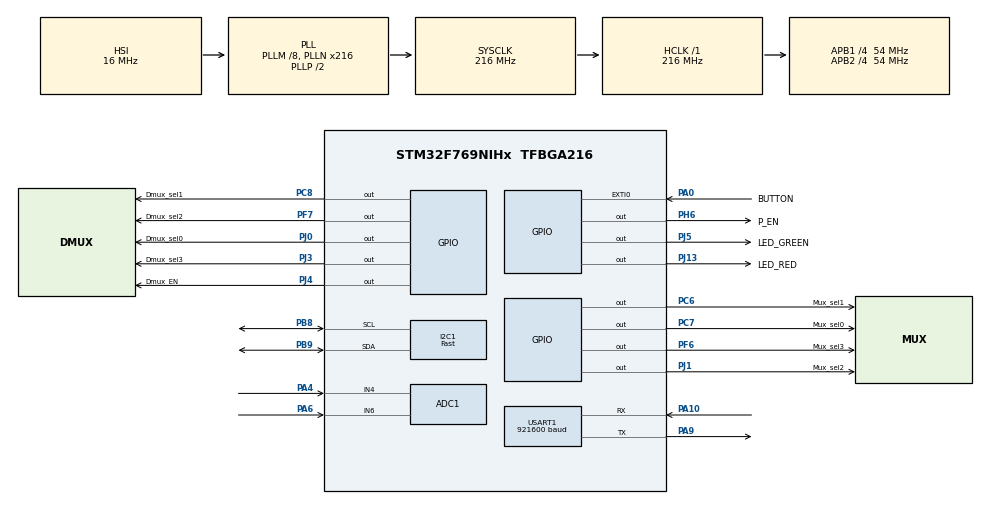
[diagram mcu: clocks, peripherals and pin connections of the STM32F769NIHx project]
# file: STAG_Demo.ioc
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Mcu.Family=STM32F7
STMicroelectronics.X-CUBE-AI.5.0.0.ModelMacc-4a777269b15ae735e5917de376a15997c86f35e3944f2cdbd16dda3ebaa704af=4761904
RCC.CortexFreq_Value=216000000
STMicroelectronics.X-CUBE-AI.5.0.0.ModelName-4a777269b15ae735e5917de376a15997c86f35e3944f2cdbd16dda3ebaa704af=network
NVIC.I2C1_EV_IRQn=true\:4\:1\:true\:false\:true\:true\:true
I2C1.I2C_Speed_Mode=I2C_Fast
STMicroelectronics.X-CUBE-AI.5.0.0.ModelFlashOccupation-4a777269b15ae735e5917de376a15997c86f35e3944f2cdbd16dda3ebaa704af=175940
USART1.BaudRate=921600
STMicroelectronics.X-CUBE-AI.5.0.0.NNModelInformation_ModelSize-4a777269b15ae735e5917de376a15997c86f35e3944f2cdbd16dda3ebaa704af=175940
PH6.GPIO_Label=P_EN
CORTEX_M7.PREFETCH_ENABLE=1
PC6.GPIO_Label=Mux_sel1
PA0/WKUP.Signal=GPXTI0
STMicroelectronics.X-CUBE-AI.5.0.0.ModelType-4a777269b15ae735e5917de376a15997c86f35e3944f2cdbd16dda3ebaa704af=Saved model
PJ5.GPIO_Label=LED_GREEN
PF6.GPIO_Label=Mux_sel3
STMicroelectronics.X-CUBE-AI.5.0.0.ModelActualCompression-4a777269b15ae735e5917de376a15997c86f35e3944f2cdbd16dda3ebaa704af=0.0
RCC.SYSCLKSource=RCC_SYSCLKSOURCE_PLLCLK
ProjectManager.StackSize=0x4000
VP_TIM7_VS_ClockSourceINT.Mode=Enable_Timer
STMicroelectronics.X-CUBE-AI.5.0.0.StackSize=0x4000
NVIC.ADC_IRQn=true\:2\:1\:true\:false\:true\:true\:true
Dma.USART1_TX.0.Priority=DMA_PRIORITY_LOW
PJ13.GPIO_Label=LED_RED
Dma.USART1_TX.0.Direction=DMA_MEMORY_TO_PERIPH
PF7.Signal=GPIO_Output
PH0/OSC_IN.Mode=HSE-External-Oscillator
RCC.HCLKFreq_Value=216000000
RCC.APB2TimFreq_Value=108000000
PC7.Signal=GPIO_Output
PH1/OSC_OUT.Signal=RCC_OSC_OUT
TIM7.Period=1349
STMicroelectronics.X-CUBE-AI.5.0.0.InternalRamActivationBufferMaxSize=AI_NETWORK_DATA_ACTIVATIONS_SIZE
RCC.AHBFreq_Value=216000000
STMicroelectronics.X-CUBE-AI.5.0.0.NNModelInformation_ModelMacc-4a777269b15ae735e5917de376a15997c86f35e3944f2cdbd16dda3ebaa704af=4761904
STMicroelectronics.X-CUBE-AI.5.0.0.WorkingBufferStartAddrList=0xFFFFFFFF
ADC1.Channel-0\#ChannelRegularConversion=ADC_CHANNEL_4
RCC.HSE_VALUE=25000000
ADC1.ScanConvMode=ADC_SCAN_ENABLE
STMicroelectronics.X-CUBE-AI.5.0.0.NNModelInformation_NbOfParameters-4a777269b15ae735e5917de376a15997c86f35e3944f2cdbd16dda3ebaa704af=43985
STMicroelectronics.X-CUBE-AI.5.0.0.NNModelInformation_ModelRam-4a777269b15ae735e5917de376a15997c86f35e3944f2cdbd16dda3ebaa704af=49152
STMicroelectronics.X-CUBE-AI.5.0.0.NNModelInformation_ModelRom-4a777269b15ae735e5917de376a15997c86f35e3944f2cdbd16dda3ebaa704af=175940
PF7.GPIO_Label=Dmux_sel2
STMicroelectronics.X-CUBE-AI.5.0.0.LatestDirectoryUsed-4a777269b15ae735e5917de376a15997c86f35e3944f2cdbd16dda3ebaa704af=/home/fabian/Documents/Master_thesis/Python_Code/models/onnx
STMicroelectronics.X-CUBE-AI.5.0.0.NNModelInformation_HeapSizeNeeded-4a777269b15ae735e5917de376a15997c86f35e3944f2cdbd16dda3ebaa704af=3072
TIM6.Period=65535
Dma.USART1_TX.0.PeriphDataAlignment=DMA_PDATAALIGN_BYTE
NVIC.I2C1_ER_IRQn=true\:4\:0\:true\:false\:true\:true\:true
PH1/OSC_OUT.Mode=HSE-External-Oscillator
ADC1.SamplingTime-0\#ChannelRegularConversion=ADC_SAMPLETIME_112CYCLES
STMicroelectronics.X-CUBE-AI.5.0.0.ValidationOutputFileHistory-4a777269b15ae735e5917de376a15997c86f35e3944f2cdbd16dda3ebaa704af=/home/fabian/Documents/Master_thesis/C_Code/validation_data/label2_small.csv,/home/fabian/Documents/Master_thesis/C_Code/validation_data/real_labels.csv
STMicroelectronics.X-CUBE-AI.5.0.0.NNModelInformation_ModelOutSizeByName-4a777269b15ae735e5917de376a15997c86f35e3944f2cdbd16dda3ebaa704af={output\=68}
STMicroelectronics.X-CUBE-AI.5.0.0.MaximumNumberOfInputLayer=1
PB9.Signal=I2C1_SDA
Mcu.Package=TFBGA216
PA6.Signal=ADCx_IN6
NVIC.DMA2_Stream7_IRQn=true\:0\:0\:false\:false\:true\:false\:true
STMicroelectronics.X-CUBE-AI.5.0.0.MaximumSizeOfInputLayer=4096
PJ4.Signal=GPIO_Output
PA10.Signal=USART1_RX
STMicroelectronics.X-CUBE-AI.5.0.0.ValidationInputFileHistory-4a777269b15ae735e5917de376a15997c86f35e3944f2cdbd16dda3ebaa704af=/home/fabian/Documents/Master_thesis/C_Code/validation_data/data2_small.csv,/home/fabian/Documents/Master_thesis/C_Code/validation_data/real_data.csv,/home/fabian/Documents/Master_thesis/C_Code/validation_data/real_data.csv
Dma.USART1_TX.0.Instance=DMA2_Stream7
PJ1.Signal=GPIO_Output
TIM7.AutoReloadPreload=TIM_AUTORELOAD_PRELOAD_ENABLE
Dma.USART1_TX.0.FIFOMode=DMA_FIFOMODE_DISABLE
RCC.APB2CLKDivider=RCC_HCLK_DIV4
RCC.PLLSAIQ=3
PJ3.GPIO_Label=Dmux_sel3
RCC.APB1TimFreq_Value=108000000
STMicroelectronics.X-CUBE-AI.5.0.0.MaximumSizeOfOutputLayer=68
NVIC.USART1_IRQn=true\:2\:0\:true\:false\:true\:true\:true
Dma.Request0=USART1_TX
NVIC.TIM7_IRQn=true\:1\:1\:true\:false\:true\:true\:true
PJ1.GPIO_Label=Mux_sel2
CORTEX_M7.CPU_ICache=Enabled
ADC1.Rank-0\#ChannelRegularConversion=1
Dma.USART1_TX.0.MemInc=DMA_MINC_ENABLE
STMicroelectronics.X-CUBE-AI.5.0.0.HeapSize=0x2000
Dma.USART1_TX.0.PeriphInc=DMA_PINC_DISABLE
PA10.Mode=Asynchronous
SH.ADCx_IN6.0=ADC1_IN6,IN6
STMicroelectronics.X-CUBE-AI.5.0.0.MaximumNumberOfOutputLayer=1
STMicroelectronics.X-CUBE-AI.5.0.0.ModelRamOccupation-4a777269b15ae735e5917de376a15997c86f35e3944f2cdbd16dda3ebaa704af=49152
STMicroelectronics.X-CUBE-AI.5.0.0.XAaCUBEAaAICcArtificialOoIntelligenceJjCore=true
PC8.Signal=GPIO_Output
STMicroelectronics.X-CUBE-AI.5.0.0.ModelKind-4a777269b15ae735e5917de376a15997c86f35e3944f2cdbd16dda3ebaa704af=ONNX
TIM6.Prescaler=107
ADC1.DiscontinuousConvMode=ENABLE
VP_TIM6_VS_ClockSourceINT.Mode=Enable_Timer
PC6.Signal=GPIO_Output
RCC.APB1CLKDivider=RCC_HCLK_DIV4
STMicroelectronics.X-CUBE-AI.5.0.0.NNModelInformation_EvaluationStatus-4a777269b15ae735e5917de376a15997c86f35e3944f2cdbd16dda3ebaa704af=NOT EVALUATED
VP_STMicroelectronics.X-CUBE-AI_VS_ArtificialOoIntelligenceJjXAaCUBEAaAI_5.0.0.Mode=ArtificialOoIntelligenceJjXAaCUBEAaAI
PC8.GPIO_Label=Dmux_sel1
USART1.VirtualMode-Asynchronous=VM_ASYNC
TIM6.AutoReloadPreload=TIM_AUTORELOAD_PRELOAD_ENABLE
PJ3.Signal=GPIO_Output
PA9.Mode=Asynchronous
PF6.Signal=GPIO_Output
ProjectManager.TargetToolchain=Makefile
CORTEX_M7.ART_ACCLERATOR_ENABLE=1
PB9.Mode=I2C
PA9.Signal=USART1_TX
STMicroelectronics.X-CUBE-AI.5.0.0.NNModelInformation_AchievedCompression-4a777269b15ae735e5917de376a15997c86f35e3944f2cdbd16dda3ebaa704af=0.0
ADC1.Channel-1\#ChannelRegularConversion=ADC_CHANNEL_6
I2C1.Timing=0x6000030D
STMicroelectronics.X-CUBE-AI.5.0.0.ApplicationCcArtificialOoIntelligenceJjApplication=ApplicationTemplate
RCC.USBFreq_Value=108000000
RCC.LSE_VALUE=32768
Dma.USART1_TX.0.Mode=DMA_NORMAL
TIM7.Prescaler=9999
board=STM32F769I-DISC1
PJ4.GPIO_Label=Dmux_EN
RCC.VCOOutputFreq_Value=432000000
ADC1.NbrOfDiscConversion=2
PH0/OSC_IN.Signal=RCC_OSC_IN
RCC.APB2Freq_Value=54000000
STMicroelectronics.X-CUBE-AI.5.0.0.NNModelInformation_CompressionFactor-4a777269b15ae735e5917de376a15997c86f35e3944f2cdbd16dda3ebaa704af=0.0
PA0/WKUP.GPIO_Label=BUTTON
STMicroelectronics.X-CUBE-AI.5.0.0.ModelCompression-4a777269b15ae735e5917de376a15997c86f35e3944f2cdbd16dda3ebaa704af=1
SH.ADCx_IN4.0=ADC1_IN4,IN4
STMicroelectronics.X-CUBE-AI.5.0.0.ActivationBufferSizeList=49152
ADC1.NbrOfConversion=2
PJ0.Signal=GPIO_Output
Mcu.Name=STM32F769NIHx
PC7.GPIO_Label=Mux_sel0
STMicroelectronics.X-CUBE-AI.5.0.0.NNModelInformation_ModelInSizeByName-4a777269b15ae735e5917de376a15997c86f35e3944f2cdbd16dda3ebaa704af={input\=4096}
NVIC.EXTI0_IRQn=true\:1\:0\:true\:false\:true\:true\:true
PA4.Signal=ADCx_IN4
ADC1.SamplingTime-1\#ChannelRegularConversion=ADC_SAMPLETIME_112CYCLES
RCC.SYSCLKFreq_VALUE=216000000
USART1.OverSampling=UART_OVERSAMPLING_8
ADC1.master=1
PJ5.Signal=GPIO_Output
ADC1.Rank-1\#ChannelRegularConversion=2
Dma.USART1_TX.0.MemDataAlignment=DMA_MDATAALIGN_BYTE
PJ0.GPIO_Label=Dmux_sel0
ProjectManager.HeapSize=0x2000
PH6.Signal=GPIO_Output
RCC.HSI_VALUE=16000000
VP_STMicroelectronics.X-CUBE-AI_VS_ArtificialOoIntelligenceJjApplication_5.0.0.Mode=ArtificialOoIntelligenceJjApplication
RCC.PLLQ=4
NVIC.PriorityGroup=NVIC_PRIORITYGROUP_3
ADC1.NbrOfConversionFlag=1
RCC.PLLM=8
STMicroelectronics.X-CUBE-AI.5.0.0.ModelHashList=4a777269b15ae735e5917de376a15997c86f35e3944f2cdbd16dda3ebaa704af
PB8.Mode=I2C
RCC.PLLN=216
PB8.Signal=I2C1_SCL
STMicroelectronics.X-CUBE-AI.5.0.0.NNModelInformation_ModelName-4a777269b15ae735e5917de376a15997c86f35e3944f2cdbd16dda3ebaa704af=network
CORTEX_M7.CPU_DCache=Enabled
RCC.APB1Freq_Value=54000000
VP_CRC_VS_CRC.Mode=CRC_Activate
PJ13.Signal=GPIO_Output
STMicroelectronics.X-CUBE-AI.5.0.0.ModelNameList=network

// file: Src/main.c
/* USER CODE BEGIN Header */
/**
  ******************************************************************************
  * @file           : main.c
  * @brief          : Main program body
  ******************************************************************************
  * @attention
  *
  * <h2><center>&copy; Copyright (c) 2020 STMicroelectronics.
  * All rights reserved.</center></h2>
  *
  * This software component is licensed by ST under Ultimate Liberty license
  * SLA0044, the "License"; You may not use this file except in compliance with
  * the License. You may obtain a copy of the License at:
  *                             www.st.com/SLA0044
  *
  ******************************************************************************
  */
/* USER CODE END Header */

#include "main.h"
#include "app_x-cube-ai.h"

/* USER CODE BEGIN Includes */
#include "readout_driver.h"

// needed to retarget stdio
#include <stdio.h>
#include <errno.h>
#include <sys/unistd.h>

#include <stdbool.h>
/* USER CODE END Includes */

CRC_HandleTypeDef hcrc;

I2C_HandleTypeDef hi2c1;

TIM_HandleTypeDef htim7;

UART_HandleTypeDef huart1;
DMA_HandleTypeDef hdma_usart1_tx;

/* USER CODE BEGIN PV */
static uint16_t tactileData[DATA_SIZE];
volatile bool collect_data = false;
volatile bool button = false;
HAL_StatusTypeDef status;

ai_float tactileData_scaled[DATA_SIZE];
const uint16_t tactile_shift = 1500;
const float tactile_scale = 1/(2700.0 - 1500.0);
uint8_t pred_class;
uint8_t terminator[2] = {0xFF, 0xFF};
uint8_t rx_char;
//volatile bool tx_complete = false;

char class_names[17][15] =  {
                              //"Allen key set ",
                              "Ball          ",
                              "Battery       ",
                              //"Board eraser  ",
                              "Bracket       ",
                              //"Brain         ",
                              //"Cat           ",
                              //"Chain         ",
                              //"Clip          ",
                              "Coin          ",
                              "Empty can     ",
                              "Empty hand    ",
                              "Full can      ",
                              "Gel           ",
                              //"Kiwano        ",
                              "Lotion        ",
                              "Mug           ",
                              //"Multimeter    ",
                              "Pen           ",
                              "Safety glasses",
                              "Scissors      ",
                              "Screwdriver   ",
                              //"Spoon         ",
                              "Spray can     ",
                              "Stapler       ",
                              "Tape          ",
                              //"Teabox        "
                            };

//uint16_t pre_tick;
//uint16_t post_tick;
/* USER CODE END PV */

void SystemClock_Config(void);
static void MX_GPIO_Init(void);
static void MX_DMA_Init(void);
static void MX_ADC1_Init(void);
static void MX_USART1_UART_Init(void);
static void MX_I2C1_Init(void);
static void MX_TIM6_Init(void);
static void MX_TIM7_Init(void);
static void MX_CRC_Init(void);
/* USER CODE BEGIN PFP */
void HAL_GPIO_EXTI_Callback(uint16_t GPIO_Pin);
void HAL_TIM_PeriodElapsedCallback(TIM_HandleTypeDef *htim);
int _write(int fd, char *buff, int count);
//void HAL_UART_TxCpltCallback(UART_HandleTypeDef *huart);
void HAL_UART_RxCpltCallback(UART_HandleTypeDef *huart);
static void normalize(uint16_t *pSrcBuffer, ai_float *pDstBuffer, uint32_t BufferSize);
//static void Send_Frame(uint16_t *pBuffer, uint32_t size);
/* USER CODE END PFP */

int main(void)
{

  /* Enable I-Cache---------------------------------------------------------*/
  SCB_EnableICache();

  /* Enable D-Cache---------------------------------------------------------*/
  SCB_EnableDCache();

  /* MCU Configuration--------------------------------------------------------*/

  /* Reset of all peripherals, Initializes the Flash interface and the Systick. */
  HAL_Init();

  /* Configure the system clock */
  SystemClock_Config();

  /* Initialize all configured peripherals */
  MX_GPIO_Init();
  MX_DMA_Init();
  MX_ADC1_Init();
  MX_USART1_UART_Init();
  MX_I2C1_Init();
  MX_TIM6_Init();
  MX_TIM7_Init();
  MX_CRC_Init();
  MX_X_CUBE_AI_Init();
  /* USER CODE BEGIN 2 */
  // Enable the reference voltage for the readout circuit
  //En_ReadoutCircuit();
  HAL_TIM_Base_Start(&htim6);
  HAL_UART_Receive_IT(&huart1, &rx_char, 1);
  /* USER CODE END 2 */

  /* Infinite loop */
  /* USER CODE BEGIN WHILE */
  while (1)
  {
    if(collect_data)
    {
      //pre_tick = __HAL_TIM_GET_COUNTER(&htim7);
      __HAL_TIM_SET_COUNTER(&htim6, 0);
      status = Read_Frame(tactileData);
      //post_tick = __HAL_TIM_GET_COUNTER(&htim7);
      //printf("Acquisition took %f microseconds.\n", (float)(post_tick-pre_tick)*92.6);
      if (status != HAL_OK)
      {
        Error_Handler();
      }
      normalize(tactileData, tactileData_scaled, DATA_SIZE);
      //tx_complete = false;
      // Delegate sending of frame to the DMA while the CPU runs inference
      status = HAL_UART_Transmit_DMA(&huart1, (uint8_t *)tactileData, DATA_SIZE*2);
      /*pre_tick = __HAL_TIM_GET_COUNTER(&htim7);
      status = HAL_UART_Transmit(&huart1, (uint8_t *)tactileData, DATA_SIZE*2, HAL_MAX_DELAY);
      post_tick = __HAL_TIM_GET_COUNTER(&htim7);
      printf("Sending took %f microseconds.\n", (float)(post_tick-pre_tick)*92.6);*/
      if (status != HAL_OK)
      {
        Error_Handler();
      }
      pred_class = MX_X_CUBE_AI_Process(tactileData_scaled);
      /*while(!tx_complete)
      {
        // Wait for transfer to be completed
        HAL_Delay(1);
      }*/
      HAL_UART_Transmit(&huart1, &pred_class, 1, HAL_MAX_DELAY);
      HAL_UART_Transmit(&huart1, terminator, 2, HAL_MAX_DELAY);
      //post_tick = __HAL_TIM_GET_COUNTER(&htim7);
      //printf("Acquisition and inference took %f microseconds.\n", (float)(post_tick-pre_tick)*92.6);

      collect_data = false;
    }
    /* USER CODE END WHILE */

  }
}

void SystemClock_Config(void)
{
  RCC_OscInitTypeDef RCC_OscInitStruct = {0};
  RCC_ClkInitTypeDef RCC_ClkInitStruct = {0};
  RCC_PeriphCLKInitTypeDef PeriphClkInitStruct = {0};

  /** Configure the main internal regulator output voltage
  */
  __HAL_RCC_PWR_CLK_ENABLE();
  __HAL_PWR_VOLTAGESCALING_CONFIG(PWR_REGULATOR_VOLTAGE_SCALE1);
  /** Initializes the CPU, AHB and APB busses clocks
  */
  RCC_OscInitStruct.OscillatorType = RCC_OSCILLATORTYPE_HSI;
  RCC_OscInitStruct.HSIState = RCC_HSI_ON;
  RCC_OscInitStruct.HSICalibrationValue = RCC_HSICALIBRATION_DEFAULT;
  RCC_OscInitStruct.PLL.PLLState = RCC_PLL_ON;
  RCC_OscInitStruct.PLL.PLLSource = RCC_PLLSOURCE_HSI;
  RCC_OscInitStruct.PLL.PLLM = 8;
  RCC_OscInitStruct.PLL.PLLN = 216;
  RCC_OscInitStruct.PLL.PLLP = RCC_PLLP_DIV2;
  RCC_OscInitStruct.PLL.PLLQ = 4;
  if (HAL_RCC_OscConfig(&RCC_OscInitStruct) != HAL_OK)
  {
    Error_Handler();
  }
  /** Activate the Over-Drive mode
  */
  if (HAL_PWREx_EnableOverDrive() != HAL_OK)
  {
    Error_Handler();
  }
  /** Initializes the CPU, AHB and APB busses clocks
  */
  RCC_ClkInitStruct.ClockType = RCC_CLOCKTYPE_HCLK|RCC_CLOCKTYPE_SYSCLK
                              |RCC_CLOCKTYPE_PCLK1|RCC_CLOCKTYPE_PCLK2;
  RCC_ClkInitStruct.SYSCLKSource = RCC_SYSCLKSOURCE_PLLCLK;
  RCC_ClkInitStruct.AHBCLKDivider = RCC_SYSCLK_DIV1;
  RCC_ClkInitStruct.APB1CLKDivider = RCC_HCLK_DIV4;
  RCC_ClkInitStruct.APB2CLKDivider = RCC_HCLK_DIV4;

  if (HAL_RCC_ClockConfig(&RCC_ClkInitStruct, FLASH_LATENCY_7) != HAL_OK)
  {
    Error_Handler();
  }
  PeriphClkInitStruct.PeriphClockSelection = RCC_PERIPHCLK_USART1|RCC_PERIPHCLK_I2C1;
  PeriphClkInitStruct.Usart1ClockSelection = RCC_USART1CLKSOURCE_PCLK2;
  PeriphClkInitStruct.I2c1ClockSelection = RCC_I2C1CLKSOURCE_PCLK1;
  if (HAL_RCCEx_PeriphCLKConfig(&PeriphClkInitStruct) != HAL_OK)
  {
    Error_Handler();
  }
}

static void MX_ADC1_Init(void)
{

  ADC_ChannelConfTypeDef sConfig = {0};

  /** Configure the global features of the ADC (Clock, Resolution, Data Alignment and number of conversion)
  */
  hadc1.Instance = ADC1;
  hadc1.Init.ClockPrescaler = ADC_CLOCK_SYNC_PCLK_DIV2;
  hadc1.Init.Resolution = ADC_RESOLUTION_12B;
  hadc1.Init.ScanConvMode = ADC_SCAN_ENABLE;
  hadc1.Init.ContinuousConvMode = DISABLE;
  hadc1.Init.DiscontinuousConvMode = ENABLE;
  hadc1.Init.NbrOfDiscConversion = 2;
  hadc1.Init.ExternalTrigConvEdge = ADC_EXTERNALTRIGCONVEDGE_NONE;
  hadc1.Init.ExternalTrigConv = ADC_SOFTWARE_START;
  hadc1.Init.DataAlign = ADC_DATAALIGN_RIGHT;
  hadc1.Init.NbrOfConversion = 2;
  hadc1.Init.DMAContinuousRequests = DISABLE;
  hadc1.Init.EOCSelection = ADC_EOC_SINGLE_CONV;
  if (HAL_ADC_Init(&hadc1) != HAL_OK)
  {
    Error_Handler();
  }
  /** Configure for the selected ADC regular channel its corresponding rank in the sequencer and its sample time.
  */
  sConfig.Channel = ADC_CHANNEL_4;
  sConfig.Rank = ADC_REGULAR_RANK_1;
  sConfig.SamplingTime = ADC_SAMPLETIME_112CYCLES;
  if (HAL_ADC_ConfigChannel(&hadc1, &sConfig) != HAL_OK)
  {
    Error_Handler();
  }
  /** Configure for the selected ADC regular channel its corresponding rank in the sequencer and its sample time.
  */
  sConfig.Channel = ADC_CHANNEL_6;
  sConfig.Rank = ADC_REGULAR_RANK_2;
  if (HAL_ADC_ConfigChannel(&hadc1, &sConfig) != HAL_OK)
  {
    Error_Handler();
  }

}

static void MX_CRC_Init(void)
{

  hcrc.Instance = CRC;
  hcrc.Init.DefaultPolynomialUse = DEFAULT_POLYNOMIAL_ENABLE;
  hcrc.Init.DefaultInitValueUse = DEFAULT_INIT_VALUE_ENABLE;
  hcrc.Init.InputDataInversionMode = CRC_INPUTDATA_INVERSION_NONE;
  hcrc.Init.OutputDataInversionMode = CRC_OUTPUTDATA_INVERSION_DISABLE;
  hcrc.InputDataFormat = CRC_INPUTDATA_FORMAT_BYTES;
  if (HAL_CRC_Init(&hcrc) != HAL_OK)
  {
    Error_Handler();
  }

}

static void MX_I2C1_Init(void)
{

  hi2c1.Instance = I2C1;
  hi2c1.Init.Timing = 0x6000030D;
  hi2c1.Init.OwnAddress1 = 0;
  hi2c1.Init.AddressingMode = I2C_ADDRESSINGMODE_7BIT;
  hi2c1.Init.DualAddressMode = I2C_DUALADDRESS_DISABLE;
  hi2c1.Init.OwnAddress2 = 0;
  hi2c1.Init.OwnAddress2Masks = I2C_OA2_NOMASK;
  hi2c1.Init.GeneralCallMode = I2C_GENERALCALL_DISABLE;
  hi2c1.Init.NoStretchMode = I2C_NOSTRETCH_DISABLE;
  if (HAL_I2C_Init(&hi2c1) != HAL_OK)
  {
    Error_Handler();
  }
  /** Configure Analogue filter
  */
  if (HAL_I2CEx_ConfigAnalogFilter(&hi2c1, I2C_ANALOGFILTER_ENABLE) != HAL_OK)
  {
    Error_Handler();
  }
  /** Configure Digital filter
  */
  if (HAL_I2CEx_ConfigDigitalFilter(&hi2c1, 0) != HAL_OK)
  {
    Error_Handler();
  }

}

static void MX_TIM6_Init(void)
{

  TIM_MasterConfigTypeDef sMasterConfig = {0};

  htim6.Instance = TIM6;
  htim6.Init.Prescaler = 107;
  htim6.Init.CounterMode = TIM_COUNTERMODE_UP;
  htim6.Init.Period = 65535;
  htim6.Init.AutoReloadPreload = TIM_AUTORELOAD_PRELOAD_ENABLE;
  if (HAL_TIM_Base_Init(&htim6) != HAL_OK)
  {
    Error_Handler();
  }
  sMasterConfig.MasterOutputTrigger = TIM_TRGO_RESET;
  sMasterConfig.MasterSlaveMode = TIM_MASTERSLAVEMODE_DISABLE;
  if (HAL_TIMEx_MasterConfigSynchronization(&htim6, &sMasterConfig) != HAL_OK)
  {
    Error_Handler();
  }

}

static void MX_TIM7_Init(void)
{

  TIM_MasterConfigTypeDef sMasterConfig = {0};

  htim7.Instance = TIM7;
  htim7.Init.Prescaler = 9999;
  htim7.Init.CounterMode = TIM_COUNTERMODE_UP;
  htim7.Init.Period = 1349;
  htim7.Init.AutoReloadPreload = TIM_AUTORELOAD_PRELOAD_ENABLE;
  if (HAL_TIM_Base_Init(&htim7) != HAL_OK)
  {
    Error_Handler();
  }
  sMasterConfig.MasterOutputTrigger = TIM_TRGO_RESET;
  sMasterConfig.MasterSlaveMode = TIM_MASTERSLAVEMODE_DISABLE;
  if (HAL_TIMEx_MasterConfigSynchronization(&htim7, &sMasterConfig) != HAL_OK)
  {
    Error_Handler();
  }

}

static void MX_USART1_UART_Init(void)
{

  huart1.Instance = USART1;
  huart1.Init.BaudRate = 921600;
  huart1.Init.WordLength = UART_WORDLENGTH_8B;
  huart1.Init.StopBits = UART_STOPBITS_1;
  huart1.Init.Parity = UART_PARITY_NONE;
  huart1.Init.Mode = UART_MODE_TX_RX;
  huart1.Init.HwFlowCtl = UART_HWCONTROL_NONE;
  huart1.Init.OverSampling = UART_OVERSAMPLING_8;
  huart1.Init.OneBitSampling = UART_ONE_BIT_SAMPLE_DISABLE;
  huart1.AdvancedInit.AdvFeatureInit = UART_ADVFEATURE_NO_INIT;
  if (HAL_UART_Init(&huart1) != HAL_OK)
  {
    Error_Handler();
  }

}

static void MX_DMA_Init(void)
{

  /* DMA controller clock enable */
  __HAL_RCC_DMA2_CLK_ENABLE();

  /* DMA interrupt init */
  /* DMA2_Stream7_IRQn interrupt configuration */
  HAL_NVIC_SetPriority(DMA2_Stream7_IRQn, 0, 0);
  HAL_NVIC_EnableIRQ(DMA2_Stream7_IRQn);

}

static void MX_GPIO_Init(void)
{
  GPIO_InitTypeDef GPIO_InitStruct = {0};

  /* GPIO Ports Clock Enable */
  __HAL_RCC_GPIOB_CLK_ENABLE();
  __HAL_RCC_GPIOJ_CLK_ENABLE();
  __HAL_RCC_GPIOA_CLK_ENABLE();
  __HAL_RCC_GPIOH_CLK_ENABLE();
  __HAL_RCC_GPIOC_CLK_ENABLE();
  __HAL_RCC_GPIOF_CLK_ENABLE();

  /*Configure GPIO pin Output Level */
  HAL_GPIO_WritePin(GPIOJ, LED_RED_Pin|Dmux_EN_Pin|LED_GREEN_Pin|Dmux_sel3_Pin
                          |Dmux_sel0_Pin|Mux_sel2_Pin, GPIO_PIN_RESET);

  /*Configure GPIO pin Output Level */
  HAL_GPIO_WritePin(GPIOC, Dmux_sel1_Pin|Mux_sel0_Pin|Mux_sel1_Pin, GPIO_PIN_RESET);

  /*Configure GPIO pin Output Level */
  HAL_GPIO_WritePin(GPIOF, Dmux_sel2_Pin|Mux_sel3_Pin, GPIO_PIN_RESET);

  /*Configure GPIO pin Output Level */
  HAL_GPIO_WritePin(P_EN_GPIO_Port, P_EN_Pin, GPIO_PIN_RESET);

  /*Configure GPIO pins : LED_RED_Pin Dmux_EN_Pin LED_GREEN_Pin Dmux_sel3_Pin
                           Dmux_sel0_Pin Mux_sel2_Pin */
  GPIO_InitStruct.Pin = LED_RED_Pin|Dmux_EN_Pin|LED_GREEN_Pin|Dmux_sel3_Pin
                          |Dmux_sel0_Pin|Mux_sel2_Pin;
  GPIO_InitStruct.Mode = GPIO_MODE_OUTPUT_PP;
  GPIO_InitStruct.Pull = GPIO_NOPULL;
  GPIO_InitStruct.Speed = GPIO_SPEED_FREQ_LOW;
  HAL_GPIO_Init(GPIOJ, &GPIO_InitStruct);

  /*Configure GPIO pins : Dmux_sel1_Pin Mux_sel0_Pin Mux_sel1_Pin */
  GPIO_InitStruct.Pin = Dmux_sel1_Pin|Mux_sel0_Pin|Mux_sel1_Pin;
  GPIO_InitStruct.Mode = GPIO_MODE_OUTPUT_PP;
  GPIO_InitStruct.Pull = GPIO_NOPULL;
  GPIO_InitStruct.Speed = GPIO_SPEED_FREQ_LOW;
  HAL_GPIO_Init(GPIOC, &GPIO_InitStruct);

  /*Configure GPIO pins : Dmux_sel2_Pin Mux_sel3_Pin */
  GPIO_InitStruct.Pin = Dmux_sel2_Pin|Mux_sel3_Pin;
  GPIO_InitStruct.Mode = GPIO_MODE_OUTPUT_PP;
  GPIO_InitStruct.Pull = GPIO_NOPULL;
  GPIO_InitStruct.Speed = GPIO_SPEED_FREQ_LOW;
  HAL_GPIO_Init(GPIOF, &GPIO_InitStruct);

  /*Configure GPIO pin : BUTTON_Pin */
  GPIO_InitStruct.Pin = BUTTON_Pin;
  GPIO_InitStruct.Mode = GPIO_MODE_IT_RISING;
  GPIO_InitStruct.Pull = GPIO_NOPULL;
  HAL_GPIO_Init(BUTTON_GPIO_Port, &GPIO_InitStruct);

  /*Configure GPIO pin : P_EN_Pin */
  GPIO_InitStruct.Pin = P_EN_Pin;
  GPIO_InitStruct.Mode = GPIO_MODE_OUTPUT_PP;
  GPIO_InitStruct.Pull = GPIO_NOPULL;
  GPIO_InitStruct.Speed = GPIO_SPEED_FREQ_LOW;
  HAL_GPIO_Init(P_EN_GPIO_Port, &GPIO_InitStruct);

  /* EXTI interrupt init*/
  HAL_NVIC_SetPriority(EXTI0_IRQn, 1, 0);
  HAL_NVIC_EnableIRQ(EXTI0_IRQn);

}

/* USER CODE BEGIN 4 */
// Retarget stdio
int _write(int fd, char *buff, int count)
{
  if ((count < 0) && (fd != STDOUT_FILENO) && (fd != STDERR_FILENO)) {
      errno = EBADF;
      return -1;
  }

  status = HAL_UART_Transmit(&huart1, (uint8_t *)buff, count, HAL_MAX_DELAY);

  return (status == HAL_OK ? count : 0);
}

void HAL_GPIO_EXTI_Callback(uint16_t GPIO_Pin)
{
  // Toggle between running and stopping the demo
  //collect_data = !collect_data;
  button = !button;
  if (button)
  {
    // Enable the reference voltage for the readout circuit
    En_ReadoutCircuit();
    HAL_GPIO_WritePin(GPIOJ, LED_GREEN_Pin, GPIO_PIN_SET);
    HAL_TIM_Base_Start_IT(&htim7);
  }
  else
  {
    HAL_GPIO_WritePin(GPIOJ, LED_GREEN_Pin, GPIO_PIN_RESET);
    HAL_TIM_Base_Stop_IT(&htim7);
    Dis_ReadoutCircuit();
  }
}

void HAL_UART_RxCpltCallback(UART_HandleTypeDef *huart)
{
  if (rx_char == 'r')
  {
    // Enable the reference voltage for the readout circuit
    En_ReadoutCircuit();
    button = true;
    HAL_GPIO_WritePin(GPIOJ, LED_GREEN_Pin, GPIO_PIN_SET);
    HAL_TIM_Base_Start_IT(&htim7);
  }
  else
  {
    button = false;
    HAL_GPIO_WritePin(GPIOJ, LED_GREEN_Pin, GPIO_PIN_RESET);
    HAL_TIM_Base_Stop_IT(&htim7);
    Dis_ReadoutCircuit();
  }
  HAL_UART_Receive_IT(&huart1, &rx_char, 1);
}

/*void HAL_UART_TxCpltCallback(UART_HandleTypeDef *huart)
{
  tx_complete = true;
}*/

// Timer interrupt
void HAL_TIM_PeriodElapsedCallback(TIM_HandleTypeDef *htim)
{
  if (htim->Instance == htim7.Instance)
  {
    collect_data = true;
  }
}

void normalize(uint16_t *pSrcBuffer, ai_float *pDstBuffer, uint32_t BufferSize)
{
  for (int i=0; i<BufferSize; i++)
  {
    ai_float tmp_ = ((float)(pSrcBuffer[i] - tactile_shift))*tactile_scale;
    // clip values such that they fall between 0, 1
    pDstBuffer[i] = AI_CLAMP(tmp_, 0.0, 1.0, ai_float);
  }
}
/* USER CODE END 4 */

void Error_Handler(void)
{
}

/************************ (C) COPYRIGHT STMicroelectronics *****END OF FILE****/
